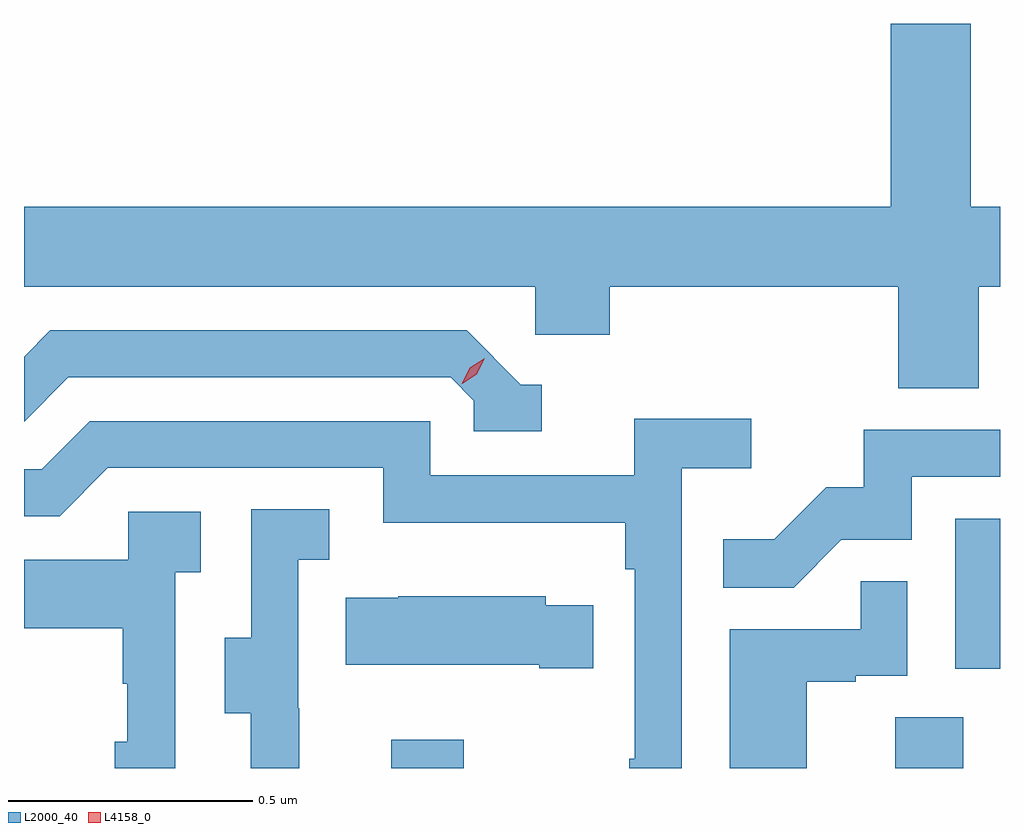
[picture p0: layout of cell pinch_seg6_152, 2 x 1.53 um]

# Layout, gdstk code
import gdstk
lib = gdstk.Library(unit=1e-6, precision=1e-09)
def R(c, l, rs):  # rectangles x0, y0, x1, y1
    for r in rs: c.add(gdstk.rectangle(r[:2], r[2:], *l))
def P(c, l, *ps):  # polygons
    for p in ps: c.add(gdstk.Polygon(p, *l))
L2000_40 = (2000, 40)
L4158_0 = (4158, 0)

pinch_seg6_152 = lib.new_cell('pinch_seg6_152')
R(pinch_seg6_152, L2000_40, [(955.193,918.378,955.341,918.436), (956.225,918.378,956.365,918.482), (956.348,918.582,956.44,918.889)])
P(pinch_seg6_152, L2000_40, [(956.396,919.364),(956.44,919.364),(956.44,919.528),(956.38,919.528),(956.38,919.903),(956.216,919.903),(956.216,919.528),(954.44,919.528),(954.44,919.364),(955.488,919.364),(955.488,919.266),(955.64,919.266),(955.64,919.364),(956.231,919.364),(956.231,919.156),(956.396,919.156)],
  [(955.501,919.164),(955.458,919.164),(955.347,919.275),(954.494,919.275),(954.44,919.221),(954.44,919.088),(954.531,919.179),(955.314,919.179),(955.362,919.131),(955.362,919.068),(955.501,919.068)],
  [(955.788,918.992),(955.93,918.992),(955.93,919.094),(955.691,919.094),(955.691,918.978),(955.272,918.978),(955.272,919.089),(954.575,919.089),(954.476,918.99),(954.44,918.99),(954.44,918.894),(954.513,918.894),(954.612,918.993),(955.176,918.993),(955.176,918.881),(955.672,918.881),(955.672,918.785),(955.692,918.785),(955.692,918.397),(955.68,918.397),(955.68,918.378),(955.788,918.378)],
  [(956.115,918.846),(956.259,918.846),(956.259,918.975),(956.44,918.975),(956.44,919.071),(956.161,919.071),(956.161,918.954),(956.084,918.954),(955.977,918.847),(955.873,918.847),(955.873,918.748),(956.017,918.748)],
  [(955.004,918.501),(955.002,918.501),(955.002,918.805),(955.066,918.805),(955.066,918.908),(954.906,918.908),(954.906,918.645),(954.851,918.645),(954.851,918.49),(954.905,918.49),(954.905,918.378),(955.004,918.378)],
  [(954.75,918.779),(954.802,918.779),(954.802,918.903),(954.654,918.903),(954.654,918.805),(954.44,918.805),(954.44,918.665),(954.642,918.665),(954.642,918.551),(954.652,918.551),(954.652,918.432),(954.626,918.432),(954.626,918.378),(954.75,918.378)],
  [(956.044,918.555),(956.144,918.555),(956.144,918.567),(956.25,918.567),(956.25,918.761),(956.155,918.761),(956.155,918.663),(955.886,918.663),(955.886,918.378),(956.044,918.378)],
  [(955.607,918.712),(955.509,918.712),(955.509,918.73),(955.207,918.73),(955.207,918.727),(955.099,918.727),(955.099,918.59),(955.496,918.59),(955.496,918.583),(955.607,918.583)])
P(pinch_seg6_152, L4158_0, [(955.337,919.166),(955.337,919.166),(955.353,919.198),(955.384,919.218),(955.384,919.218),(955.384,919.218),(955.368,919.185),(955.338,919.166)])

lib.write_gds('pinch_seg6_152.gds')
